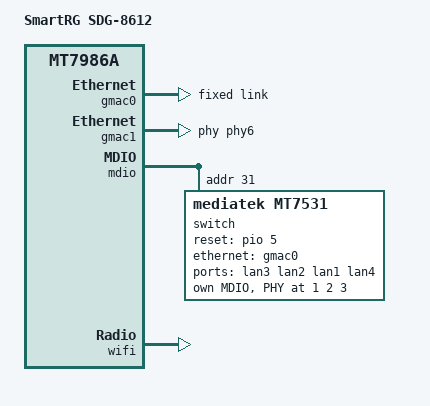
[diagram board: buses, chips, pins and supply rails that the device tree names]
// SPDX-License-Identifier: (GPL-2.0 OR MIT)
/*
 * Copyright (C) 2022 SmartRG Inc.
 * Author: Chad Monroe <chad.monroe@smartrg.com>
 */

#include "mt7986a-smartrg-bonanza-peak.dtsi"
#include "mt7986a-smartrg-SDG-861x-power-limits-r1-RCM-AU-NZ.dtsi"
#include "mt7986a-smartrg-SDG-861x-power-limits-r2-IC-CA.dtsi"
#include "mt7986a-smartrg-SDG-861x-power-limits-r3-ETSI-GB.dtsi"
#include "mt7986a-smartrg-SDG-861x-power-limits-r4-ETSI.dtsi"
#include "mt7986a-smartrg-SDG-861x-power-limits-r5-FCC-US.dtsi"

/ {
	model = "SmartRG SDG-8612";
	compatible = "smartrg,sdg-8612", "mediatek,mt7986a";
};

&gmac0 {
	fixed-link {
		speed = <2500>;
		full-duplex;
		pause;
	};
};

&gmac1 {
	phy-handle = <&phy6>;
};

&mdio {
	switch: switch@1f {
		compatible = "mediatek,mt7531";
		reg = <31>;
		reset-gpios = <&pio 5 GPIO_ACTIVE_HIGH>;

		mdio {
			#address-cells = <1>;
			#size-cells = <0>;

			swphy1: phy@1 {
				reg = <1>;
				mediatek,led-config = <
					0x21 0x8009 /* BASIC_CTRL */
					0x22 0x0000 /* ON_DURATION */
					0x23 0x0000 /* BLINK_DURATION */
					0x24 0xc001 /* LED0_ON_CTRL */
					0x25 0x0000 /* LED0_BLINK_CTRL */
					0x26 0xc006 /* LED1_ON_CTRL */
					0x27 0x0000 /* LED1_BLINK_CTRL */
				>;
			};

			swphy2: phy@2 {
				reg = <2>;
				mediatek,led-config = <
					0x21 0x8009 /* BASIC_CTRL */
					0x22 0x0000 /* ON_DURATION */
					0x23 0x0000 /* BLINK_DURATION */
					0x24 0xc001 /* LED0_ON_CTRL */
					0x25 0x0000 /* LED0_BLINK_CTRL */
					0x26 0xc006 /* LED1_ON_CTRL */
					0x27 0x0000 /* LED1_BLINK_CTRL */
				>;
			};

			swphy3: phy@3 {
				reg = <3>;
				mediatek,led-config = <
					0x21 0x8009 /* BASIC_CTRL */
					0x22 0x0000 /* ON_DURATION */
					0x23 0x0000 /* BLINK_DURATION */
					0x24 0xc001 /* LED0_ON_CTRL */
					0x25 0x0000 /* LED0_BLINK_CTRL */
					0x26 0xc006 /* LED1_ON_CTRL */
					0x27 0x0000 /* LED1_BLINK_CTRL */
				>;
			};
		};

		ports {
			#address-cells = <1>;
			#size-cells = <0>;

			port@1 {
				reg = <1>;
				label = "lan3";
				phy-handle = <&swphy1>;
			};

			port@2 {
				reg = <2>;
				label = "lan2";
				phy-handle = <&swphy2>;
			};

			port@3 {
				reg = <3>;
				label = "lan1";
				phy-handle = <&swphy3>;
			};

			port5: port@5 {
				reg = <5>;
				label = "lan4";

				phy-mode = "2500base-x";
				phy-handle = <&phy5>;
			};

			port@6 {
				reg = <6>;
				ethernet = <&gmac0>;
				phy-mode = "2500base-x";

				fixed-link {
					speed = <2500>;
					full-duplex;
					pause;
				};
			};
		};
	};
};

&wifi {
	ieee80211-freq-limit = <2400000 2500000>, <5170000 5835000>;
};
